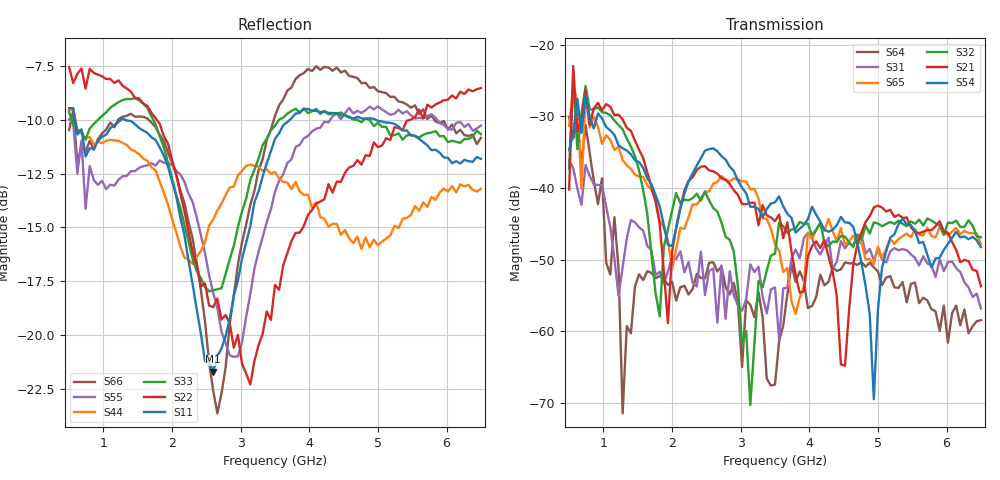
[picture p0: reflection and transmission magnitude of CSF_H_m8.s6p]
!Keysight Technologies,M9804A,MY58100912,A.14.10.03
!Date: Thursday, April 27, 2023 10:28:33
!Correction: S11(C  6-Port  )
!S12(C  6-Port  )
!S13(C  6-Port  )
!S14(C  6-Port  )
!S15(C  6-Port  )
!S16(C  6-Port  )
!S21(C  6-Port  )
!S22(C  6-Port  )
!S23(C  6-Port  )
!S24(C  6-Port  )
!S25(C  6-Port  )
!S26(C  6-Port  )
!S31(C  6-Port  )
!S32(C  6-Port  )
!S33(C  6-Port  )
!S34(C  6-Port  )
!S35(C  6-Port  )
!S36(C  6-Port  )
!S41(C  6-Port  )
!S42(C  6-Port  )
!S43(C  6-Port  )
!S44(C  6-Port  )
!S45(C  6-Port  )
!S46(C  6-Port  )
!S51(C  6-Port  )
!S52(C  6-Port  )
!S53(C  6-Port  )
!S54(C  6-Port  )
!S55(C  6-Port  )
!S56(C  6-Port  )
!S61(C  6-Port  )
!S62(C  6-Port  )
!S63(C  6-Port  )
!S64(C  6-Port  )
!S65(C  6-Port  )
!S66(C  6-Port  )
!S6P File: Measurement: :
# Hz S  RI  R 50
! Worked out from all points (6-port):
!   101 points, 500 MHz to 6.5 GHz, reference 50 ohm
!   strongest paths, dB at 500 MHz, 2 GHz, 3.5 GHz, 5 GHz, 6.5 GHz:
!     S54: -34.8, -48.1, -42.0, -57.0, -48.3
!     S21: -40.2, -49.0, -44.6, -42.5, -53.7
!     S32: -37.3, -43.2, -49.2, -45.0, -46.9
!     S65: -31.4, -51.3, -47.9, -48.2, -47.8
!     S31: -36.1, -49.6, -53.9, -48.5, -56.8
!     S64: -30.1, -53.1, -67.4, -51.7, -58.5
!   lowest |S11| = -21.7 dB at 2.6 GHz (marker M1), VSWR 1.18, Z = 42.7 + j1.98 ohm
!   |S11| at or under -10 dB: 586.7 MHz to 1.259 GHz (672.4 MHz wide, 72.9 % of centre); 1.316 GHz to 3.717 GHz (2.402 GHz wide, 95.4 % of centre); 4.969 GHz to end of sweep
